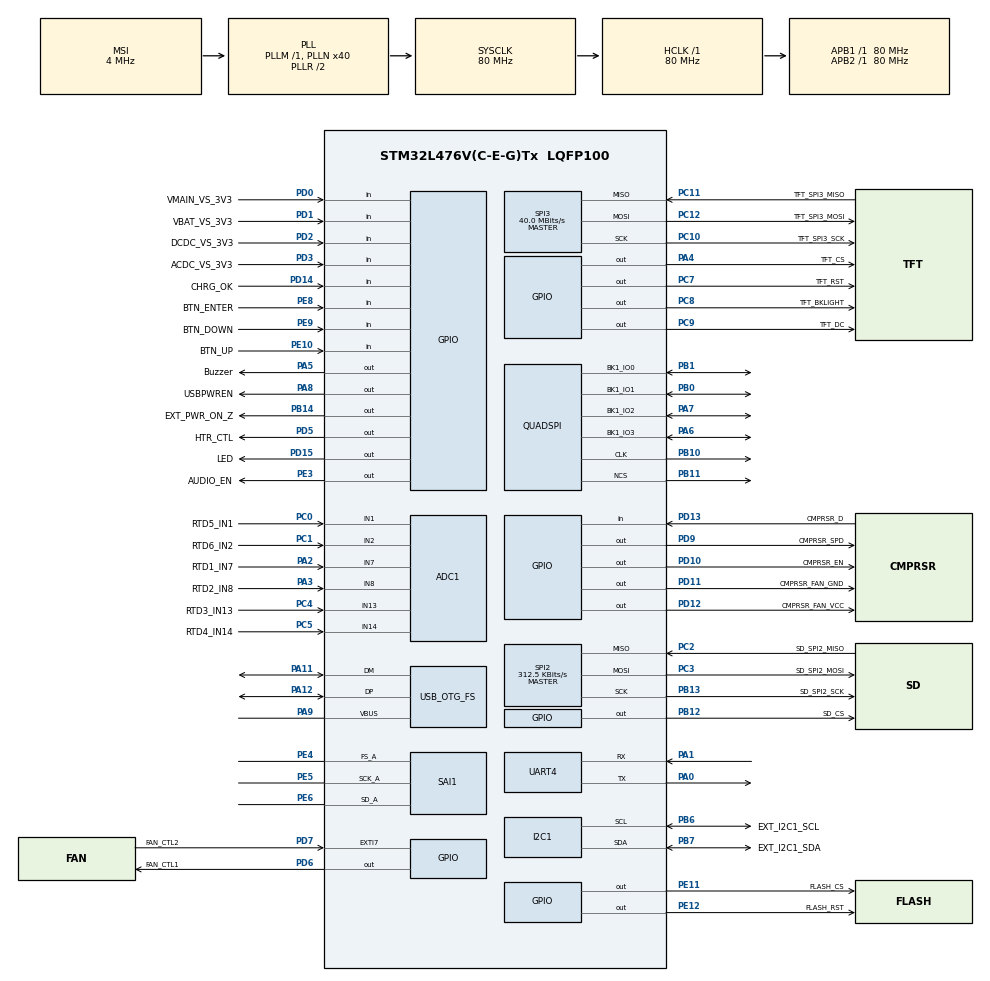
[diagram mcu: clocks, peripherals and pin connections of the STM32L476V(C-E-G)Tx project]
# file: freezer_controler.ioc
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ADC1.Channel-0\#ChannelRegularConversion=ADC_CHANNEL_1
ADC1.Channel-1\#ChannelRegularConversion=ADC_CHANNEL_2
ADC1.Channel-2\#ChannelRegularConversion=ADC_CHANNEL_8
ADC1.Channel-3\#ChannelRegularConversion=ADC_CHANNEL_7
ADC1.Channel-4\#ChannelRegularConversion=ADC_CHANNEL_13
ADC1.Channel-5\#ChannelRegularConversion=ADC_CHANNEL_14
ADC1.ClockPrescaler=ADC_CLOCK_ASYNC_DIV64
ADC1.ContinuousConvMode=ENABLE
ADC1.DMAContinuousRequests=ENABLE
ADC1.NbrOfConversion=6
ADC1.NbrOfConversionFlag=1
ADC1.OffsetNumber-0\#ChannelRegularConversion=ADC_OFFSET_NONE
ADC1.OffsetNumber-1\#ChannelRegularConversion=ADC_OFFSET_NONE
ADC1.OffsetNumber-2\#ChannelRegularConversion=ADC_OFFSET_NONE
ADC1.OffsetNumber-3\#ChannelRegularConversion=ADC_OFFSET_NONE
ADC1.OffsetNumber-4\#ChannelRegularConversion=ADC_OFFSET_NONE
ADC1.OffsetNumber-5\#ChannelRegularConversion=ADC_OFFSET_NONE
ADC1.Rank-0\#ChannelRegularConversion=1
ADC1.Rank-1\#ChannelRegularConversion=2
ADC1.Rank-2\#ChannelRegularConversion=3
ADC1.Rank-3\#ChannelRegularConversion=4
ADC1.Rank-4\#ChannelRegularConversion=5
ADC1.Rank-5\#ChannelRegularConversion=6
ADC1.SamplingTime-0\#ChannelRegularConversion=ADC_SAMPLETIME_640CYCLES_5
ADC1.SamplingTime-1\#ChannelRegularConversion=ADC_SAMPLETIME_640CYCLES_5
ADC1.SamplingTime-2\#ChannelRegularConversion=ADC_SAMPLETIME_640CYCLES_5
ADC1.SamplingTime-3\#ChannelRegularConversion=ADC_SAMPLETIME_640CYCLES_5
ADC1.SamplingTime-4\#ChannelRegularConversion=ADC_SAMPLETIME_640CYCLES_5
ADC1.SamplingTime-5\#ChannelRegularConversion=ADC_SAMPLETIME_640CYCLES_5
ADC1.master=1
CRC.DefaultPolynomialUse=DEFAULT_POLYNOMIAL_DISABLE
Dma.ADC1.1.Direction=DMA_PERIPH_TO_MEMORY
Dma.ADC1.1.Instance=DMA1_Channel1
Dma.ADC1.1.MemDataAlignment=DMA_MDATAALIGN_WORD
Dma.ADC1.1.MemInc=DMA_MINC_ENABLE
Dma.ADC1.1.Mode=DMA_CIRCULAR
Dma.ADC1.1.PeriphDataAlignment=DMA_PDATAALIGN_WORD
Dma.ADC1.1.PeriphInc=DMA_PINC_DISABLE
Dma.ADC1.1.Priority=DMA_PRIORITY_LOW
Dma.Request0=SPI3_TX
Dma.Request1=ADC1
Dma.SPI3_TX.0.Direction=DMA_MEMORY_TO_PERIPH
Dma.SPI3_TX.0.Instance=DMA2_Channel2
Dma.SPI3_TX.0.MemDataAlignment=DMA_MDATAALIGN_BYTE
Dma.SPI3_TX.0.MemInc=DMA_MINC_ENABLE
Dma.SPI3_TX.0.Mode=DMA_NORMAL
Dma.SPI3_TX.0.PeriphDataAlignment=DMA_PDATAALIGN_BYTE
Dma.SPI3_TX.0.PeriphInc=DMA_PINC_DISABLE
Dma.SPI3_TX.0.Priority=DMA_PRIORITY_LOW
FATFS._USE_LFN=3
FREERTOS.Tasks01=usbHostTask,0,128,UsbRunTask,Default,NULL,Dynamic,NULL,NULL;ledTask,-2,128,LedRunTask,Default,NULL,Dynamic,NULL,NULL;eventTask,-2,1024,EventRunTask,Default,NULL,Dynamic,NULL,NULL
FREERTOS.configTOTAL_HEAP_SIZE=8192
FREERTOS.configUSE_NEWLIB_REENTRANT=1
FREERTOS.configUSE_PREEMPTION=0
I2C1.Timing=0x10909CEC
Mcu.Family=STM32L4
Mcu.Name=STM32L476V(C-E-G)Tx
Mcu.Package=LQFP100
NVIC.DMA1_Channel1_IRQn=true\:5\:0\:false\:false\:true\:true\:false\:true\:true
NVIC.DMA2_Channel2_IRQn=true\:5\:0\:false\:false\:true\:true\:false\:true\:true
NVIC.OTG_FS_IRQn=true\:5\:0\:false\:false\:true\:true\:false\:true\:true
NVIC.PriorityGroup=NVIC_PRIORITYGROUP_4
PA0.Mode=Asynchronous
PA0.Signal=UART4_TX
PA1.Mode=Asynchronous
PA1.Signal=UART4_RX
PA11.Mode=Host_Only
PA11.Signal=USB_OTG_FS_DM
PA12.Mode=Host_Only
PA12.Signal=USB_OTG_FS_DP
PA2.GPIO_Label=RTD1_IN7
PA2.Signal=ADCx_IN7
PA3.GPIO_Label=RTD2_IN8
PA3.Signal=ADCx_IN8
PA4.GPIO_Label=TFT_CS
PA4.PinState=GPIO_PIN_SET
PA4.Signal=GPIO_Output
PA5.GPIO_Label=Buzzer
PA5.Signal=GPIO_Output
PA6.Mode=Single Bank
PA6.Signal=QUADSPI_BK1_IO3
PA7.Mode=Single Bank
PA7.Signal=QUADSPI_BK1_IO2
PA8.GPIO_Label=USBPWREN
PA8.Signal=GPIO_Output
PA9.Mode=Activate_VBUS
PA9.Signal=USB_OTG_FS_VBUS
PB0.Mode=Single Bank
PB0.Signal=QUADSPI_BK1_IO1
PB1.Mode=Single Bank
PB1.Signal=QUADSPI_BK1_IO0
PB10.Mode=Single Bank
PB10.Signal=QUADSPI_CLK
PB11.Mode=Single Bank
PB11.Signal=QUADSPI_NCS
PB12.GPIO_Label=SD_CS
PB12.Signal=GPIO_Output
PB13.GPIO_Label=SD_SPI2_SCK
PB13.Mode=Full_Duplex_Master
PB13.Signal=SPI2_SCK
PB14.GPIO_Label=EXT_PWR_ON_Z
PB14.Signal=GPIO_Output
PB6.GPIO_Label=EXT_I2C1_SCL
PB6.Mode=I2C
PB6.Signal=I2C1_SCL
PB7.GPIO_Label=EXT_I2C1_SDA
PB7.Mode=I2C
PB7.Signal=I2C1_SDA
PC0.GPIO_Label=RTD5_IN1
PC0.Signal=ADCx_IN1
PC1.GPIO_Label=RTD6_IN2
PC1.Signal=ADCx_IN2
PC10.GPIO_Label=TFT_SPI3_SCK
PC10.Mode=Full_Duplex_Master
PC10.Signal=SPI3_SCK
PC11.GPIO_Label=TFT_SPI3_MISO
PC11.Mode=Full_Duplex_Master
PC11.Signal=SPI3_MISO
PC12.GPIO_Label=TFT_SPI3_MOSI
PC12.Mode=Full_Duplex_Master
PC12.Signal=SPI3_MOSI
PC14-OSC32_IN\ (PC14).Mode=LSE-External-Oscillator
PC14-OSC32_IN\ (PC14).Signal=RCC_OSC32_IN
PC15-OSC32_OUT\ (PC15).Mode=LSE-External-Oscillator
PC15-OSC32_OUT\ (PC15).Signal=RCC_OSC32_OUT
PC2.GPIO_Label=SD_SPI2_MISO
PC2.Mode=Full_Duplex_Master
PC2.Signal=SPI2_MISO
PC3.GPIO_Label=SD_SPI2_MOSI
PC3.Mode=Full_Duplex_Master
PC3.Signal=SPI2_MOSI
PC4.GPIO_Label=RTD3_IN13
PC4.Signal=ADCx_IN13
PC5.GPIO_Label=RTD4_IN14
PC5.Signal=ADCx_IN14
PC7.GPIO_Label=TFT_RST
PC7.Signal=GPIO_Output
PC8.GPIO_Label=TFT_BKLIGHT
PC8.Signal=GPIO_Output
PC9.GPIO_Label=TFT_DC
PC9.Signal=GPIO_Output
PD0.GPIO_Label=VMAIN_VS_3V3
PD0.Signal=GPIO_Input
PD1.GPIO_Label=VBAT_VS_3V3
PD1.Signal=GPIO_Input
PD10.GPIO_Label=CMPRSR_EN
PD10.Signal=GPIO_Output
PD11.GPIO_Label=CMPRSR_FAN_GND
PD11.Signal=GPIO_Output
PD12.GPIO_Label=CMPRSR_FAN_VCC
PD12.Signal=GPIO_Output
PD13.GPIO_Label=CMPRSR_D
PD13.Signal=GPIO_Input
PD14.GPIO_Label=CHRG_OK
PD14.GPIO_PuPd=GPIO_PULLUP
PD14.Signal=GPIO_Input
PD15.GPIO_Label=LED
PD15.Signal=GPIO_Output
PD2.GPIO_Label=DCDC_VS_3V3
PD2.Signal=GPIO_Input
PD3.GPIO_Label=ACDC_VS_3V3
PD3.Signal=GPIO_Input
PD5.GPIO_Label=HTR_CTL
PD5.Signal=GPIO_Output
PD6.GPIO_Label=FAN_CTL1
PD6.Signal=GPIO_Output
PD7.GPIO_Label=FAN_CTL2
PD7.Signal=GPXTI7
PD9.GPIO_Label=CMPRSR_SPD
PD9.Signal=GPIO_Output
PE10.GPIO_Label=BTN_UP
PE10.GPIO_PuPd=GPIO_PULLUP
PE10.Signal=GPIO_Input
PE11.GPIO_Label=FLASH_CS
PE11.Signal=GPIO_Output
PE12.GPIO_Label=FLASH_RST
PE12.Signal=GPIO_Output
PE3.GPIO_Label=AUDIO_EN
PE3.Signal=GPIO_Output
PE4.Mode=SAI_A_Master
PE4.Signal=SAI1_FS_A
PE5.Mode=SAI_A_Master
PE5.Signal=SAI1_SCK_A
PE6.Mode=SAI_A_Master
PE6.Signal=SAI1_SD_A
PE8.GPIO_Label=BTN_ENTER
PE8.GPIO_PuPd=GPIO_PULLUP
PE8.Signal=GPIO_Input
PE9.GPIO_Label=BTN_DOWN
PE9.GPIO_PuPd=GPIO_PULLUP
PE9.Signal=GPIO_Input
ProjectManager.HeapSize=0x200
ProjectManager.StackSize=0x400
ProjectManager.TargetToolchain=STM32CubeIDE
RCC.ADCFreq_Value=48000000
RCC.AHBFreq_Value=80000000
RCC.APB1Freq_Value=80000000
RCC.APB1TimFreq_Value=80000000
RCC.APB2Freq_Value=80000000
RCC.APB2TimFreq_Value=80000000
RCC.CortexFreq_Value=80000000
RCC.HCLKFreq_Value=80000000
RCC.HSE_VALUE=8000000
RCC.HSI_VALUE=16000000
RCC.MSI_VALUE=4000000
RCC.PLLN=40
RCC.PLLSAI1N=24
RCC.PLLSAI2N=16
RCC.SYSCLKFreq_VALUE=80000000
RCC.SYSCLKSource=RCC_SYSCLKSOURCE_PLLCLK
RCC.USBFreq_Value=48000000
RCC.VCOOutputFreq_Value=160000000
SAI1.ErrorAudioFreq-SAI_A_Master=-72.09 %
SAI1.Instance-SAI_A_Master=SAI$Index_Block_A
SAI1.MClockEnable-SAI_A_Master=SAI_MASTERCLOCK_DISABLE
SAI1.RealAudioFreq-SAI_A_Master=53.571 KHz
SAI1.VirtualMode-SAI_A_Master=VM_MASTER
SH.ADCx_IN1.0=ADC1_IN1,IN1-Single-Ended
SH.ADCx_IN13.0=ADC1_IN13,IN13-Single-Ended
SH.ADCx_IN14.0=ADC1_IN14,IN14-Single-Ended
SH.ADCx_IN2.0=ADC1_IN2,IN2-Single-Ended
SH.ADCx_IN7.0=ADC1_IN7,IN7-Single-Ended
SH.ADCx_IN8.0=ADC1_IN8,IN8-Single-Ended
SPI2.BaudRatePrescaler=SPI_BAUDRATEPRESCALER_256
SPI2.CalculateBaudRate=312.5 KBits/s
SPI2.DataSize=SPI_DATASIZE_8BIT
SPI2.Direction=SPI_DIRECTION_2LINES
SPI2.Mode=SPI_MODE_MASTER
SPI2.VirtualType=VM_MASTER
SPI3.BaudRatePrescaler=SPI_BAUDRATEPRESCALER_2
SPI3.CalculateBaudRate=40.0 MBits/s
SPI3.DataSize=SPI_DATASIZE_8BIT
SPI3.Direction=SPI_DIRECTION_2LINES
SPI3.Mode=SPI_MODE_MASTER
SPI3.VirtualType=VM_MASTER
USB_HOST.BSP.number=1
USB_HOST.USBH_HandleTypeDef=hUsbHostFS
USB_HOST.USBH_USE_OS-MSC_FS=0
USB_HOST.VirtualModeFS=Msc
USB_HOST0.BSP.STBoard=false
USB_HOST0.BSP.api=Unknown
USB_HOST0.BSP.instance=PA8
USB_HOST0.BSP.ip=GPIO
USB_HOST0.BSP.mode=Output
USB_HOST0.BSP.name=Drive_VBUS_FS
USB_HOST0.BSP.solution=PA8
USB_OTG_FS.VirtualMode=Host_Only
USB_OTG_FS.phy_itface=HCD_PHY_EMBEDDED
VP_CRC_VS_CRC.Mode=CRC_Activate
VP_FATFS_VS_Generic.Mode=User_defined
VP_FATFS_VS_USB.Mode=USB
VP_FREERTOS_VS_CMSIS_V1.Mode=CMSIS_V1
VP_USB_HOST_VS_USB_HOST_MSC_FS.Mode=MSC_FS
board=custom

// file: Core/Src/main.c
/* USER CODE BEGIN Header */
/**
  ******************************************************************************
  * @file           : main.c
  * @brief          : Main program body
  ******************************************************************************
  * @attention
  *
  * Copyright (c) 2023 STMicroelectronics.
  * All rights reserved.
  *
  * This software is licensed under terms that can be found in the LICENSE file
  * in the root directory of this software component.
  * If no LICENSE file comes with this software, it is provided AS-IS.
  *
  ******************************************************************************
  */
/* USER CODE END Header */
#include "main.h"
#include "cmsis_os.h"
#include "adc.h"
#include "crc.h"
#include "dma.h"
#include "fatfs.h"
#include "i2c.h"
#include "quadspi.h"
#include "sai.h"
#include "spi.h"
#include "usart.h"
#include "usb_host.h"
#include "gpio.h"

/* USER CODE BEGIN Includes */
#include "lcd_ui.h"
#include "event.h"
#include "DS1307.h"
#include "led.h"
#include "buzzer.h"
#include "RTD.h"
#include "board.h"
#include "lcd_interface.h"
#include "main_app.h"
#include "logging.h"
#include "bms.h"
#include "power_board.h"
/* USER CODE END Includes */

void SystemClock_Config(void);
void PeriphCommonClock_Config(void);
void MX_FREERTOS_Init(void);

int main(void)
{

  /* MCU Configuration--------------------------------------------------------*/

  /* Reset of all peripherals, Initializes the Flash interface and the Systick. */
  HAL_Init();

  /* Configure the system clock */
  SystemClock_Config();

/* Configure the peripherals common clocks */
  PeriphCommonClock_Config();

  /* Initialize all configured peripherals */
  MX_GPIO_Init();
  MX_DMA_Init();
  MX_ADC1_Init();
  MX_SPI2_Init();
  MX_FATFS_Init();
  MX_SPI3_Init();
  MX_I2C1_Init();
  MX_CRC_Init();
  MX_QUADSPI_Init();
  MX_SAI1_Init();
  MX_UART4_Init();
  /* USER CODE BEGIN 2 */

  logging_init();
  event_init();
  //RTD temperature sensor
  rtd_init();
  //Buzzer
  buzzer_init();
  //Init i2c periph for DS1307
  DS1307_Init(&hi2c1);

  //Battery managerment
//  ext_pwr_enable(); // On power for BQ25731
//  HAL_Delay(10);
//  bms_init();

  /* USER CODE END 2 */

  /* Call init function for freertos objects (in freertos.c) */
  MX_FREERTOS_Init();

  /* Start scheduler */
  osKernelStart();

  /* We should never get here as control is now taken by the scheduler */
  /* Infinite loop */
  /* USER CODE BEGIN WHILE */
  while (1)
  {
//	 event_run_task();
    /* USER CODE END WHILE */

  }
}

void SystemClock_Config(void)
{
  RCC_OscInitTypeDef RCC_OscInitStruct = {0};
  RCC_ClkInitTypeDef RCC_ClkInitStruct = {0};

  /** Configure the main internal regulator output voltage
  */
  if (HAL_PWREx_ControlVoltageScaling(PWR_REGULATOR_VOLTAGE_SCALE1) != HAL_OK)
  {
    Error_Handler();
  }

  /** Configure LSE Drive Capability
  */
  HAL_PWR_EnableBkUpAccess();
  __HAL_RCC_LSEDRIVE_CONFIG(RCC_LSEDRIVE_LOW);

  /** Initializes the RCC Oscillators according to the specified parameters
  * in the RCC_OscInitTypeDef structure.
  */
  RCC_OscInitStruct.OscillatorType = RCC_OSCILLATORTYPE_LSE|RCC_OSCILLATORTYPE_MSI;
  RCC_OscInitStruct.LSEState = RCC_LSE_ON;
  RCC_OscInitStruct.MSIState = RCC_MSI_ON;
  RCC_OscInitStruct.MSICalibrationValue = 0;
  RCC_OscInitStruct.MSIClockRange = RCC_MSIRANGE_6;
  RCC_OscInitStruct.PLL.PLLState = RCC_PLL_ON;
  RCC_OscInitStruct.PLL.PLLSource = RCC_PLLSOURCE_MSI;
  RCC_OscInitStruct.PLL.PLLM = 1;
  RCC_OscInitStruct.PLL.PLLN = 40;
  RCC_OscInitStruct.PLL.PLLP = RCC_PLLP_DIV7;
  RCC_OscInitStruct.PLL.PLLQ = RCC_PLLQ_DIV2;
  RCC_OscInitStruct.PLL.PLLR = RCC_PLLR_DIV2;
  if (HAL_RCC_OscConfig(&RCC_OscInitStruct) != HAL_OK)
  {
    Error_Handler();
  }

  /** Initializes the CPU, AHB and APB buses clocks
  */
  RCC_ClkInitStruct.ClockType = RCC_CLOCKTYPE_HCLK|RCC_CLOCKTYPE_SYSCLK
                              |RCC_CLOCKTYPE_PCLK1|RCC_CLOCKTYPE_PCLK2;
  RCC_ClkInitStruct.SYSCLKSource = RCC_SYSCLKSOURCE_PLLCLK;
  RCC_ClkInitStruct.AHBCLKDivider = RCC_SYSCLK_DIV1;
  RCC_ClkInitStruct.APB1CLKDivider = RCC_HCLK_DIV1;
  RCC_ClkInitStruct.APB2CLKDivider = RCC_HCLK_DIV1;

  if (HAL_RCC_ClockConfig(&RCC_ClkInitStruct, FLASH_LATENCY_4) != HAL_OK)
  {
    Error_Handler();
  }

  /** Enable MSI Auto calibration
  */
  HAL_RCCEx_EnableMSIPLLMode();
}

void PeriphCommonClock_Config(void)
{
  RCC_PeriphCLKInitTypeDef PeriphClkInit = {0};

  /** Initializes the peripherals clock
  */
  PeriphClkInit.PeriphClockSelection = RCC_PERIPHCLK_SAI1|RCC_PERIPHCLK_USB
                              |RCC_PERIPHCLK_ADC;
  PeriphClkInit.Sai1ClockSelection = RCC_SAI1CLKSOURCE_PLLSAI1;
  PeriphClkInit.AdcClockSelection = RCC_ADCCLKSOURCE_PLLSAI1;
  PeriphClkInit.UsbClockSelection = RCC_USBCLKSOURCE_PLLSAI1;
  PeriphClkInit.PLLSAI1.PLLSAI1Source = RCC_PLLSOURCE_MSI;
  PeriphClkInit.PLLSAI1.PLLSAI1M = 1;
  PeriphClkInit.PLLSAI1.PLLSAI1N = 24;
  PeriphClkInit.PLLSAI1.PLLSAI1P = RCC_PLLP_DIV7;
  PeriphClkInit.PLLSAI1.PLLSAI1Q = RCC_PLLQ_DIV2;
  PeriphClkInit.PLLSAI1.PLLSAI1R = RCC_PLLR_DIV2;
  PeriphClkInit.PLLSAI1.PLLSAI1ClockOut = RCC_PLLSAI1_SAI1CLK|RCC_PLLSAI1_48M2CLK
                              |RCC_PLLSAI1_ADC1CLK;
  if (HAL_RCCEx_PeriphCLKConfig(&PeriphClkInit) != HAL_OK)
  {
    Error_Handler();
  }
}

void Error_Handler(void)
{
  __disable_irq();
  while (1)
  {
  }
}

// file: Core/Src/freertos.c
/* USER CODE BEGIN Header */
/**
  ******************************************************************************
  * File Name          : freertos.c
  * Description        : Code for freertos applications
  ******************************************************************************
  * @attention
  *
  * Copyright (c) 2023 STMicroelectronics.
  * All rights reserved.
  *
  * This software is licensed under terms that can be found in the LICENSE file
  * in the root directory of this software component.
  * If no LICENSE file comes with this software, it is provided AS-IS.
  *
  ******************************************************************************
  */
/* USER CODE END Header */

#include "FreeRTOS.h"
#include "task.h"
#include "main.h"
#include "cmsis_os.h"

/* USER CODE BEGIN Includes */
#include "event.h"
#include "led.h"
#include "bms.h"
#include "main_app.h"
/* USER CODE END Includes */

/* USER CODE BEGIN Variables */
osThreadId eventTaskHandle;
osThreadId ledTaskHandle;
/* USER CODE END Variables */
osThreadId usbHostTaskHandle;
osThreadId ledTaskHandle;
osThreadId eventTaskHandle;

/* USER CODE BEGIN FunctionPrototypes */
extern void MX_USB_HOST_Process(void);
/* USER CODE END FunctionPrototypes */

void UsbRunTask(void const * argument);
void LedRunTask(void const * argument);
void EventRunTask(void const * argument);

extern void MX_USB_HOST_Init(void);
void MX_FREERTOS_Init(void); /* (MISRA C 2004 rule 8.1) */

/* GetIdleTaskMemory prototype (linked to static allocation support) */
void vApplicationGetIdleTaskMemory( StaticTask_t **ppxIdleTaskTCBBuffer, StackType_t **ppxIdleTaskStackBuffer, uint32_t *pulIdleTaskStackSize );

/* USER CODE BEGIN GET_IDLE_TASK_MEMORY */
static StaticTask_t xIdleTaskTCBBuffer;
static StackType_t xIdleStack[configMINIMAL_STACK_SIZE];

void vApplicationGetIdleTaskMemory( StaticTask_t **ppxIdleTaskTCBBuffer, StackType_t **ppxIdleTaskStackBuffer, uint32_t *pulIdleTaskStackSize )
{
  *ppxIdleTaskTCBBuffer = &xIdleTaskTCBBuffer;
  *ppxIdleTaskStackBuffer = &xIdleStack[0];
  *pulIdleTaskStackSize = configMINIMAL_STACK_SIZE;
  /* place for user code */
}
/* USER CODE END GET_IDLE_TASK_MEMORY */

void MX_FREERTOS_Init(void) {

  /* Create the thread(s) */
  /* definition and creation of usbHostTask */
  osThreadDef(usbHostTask, UsbRunTask, osPriorityNormal, 0, 128);
  usbHostTaskHandle = osThreadCreate(osThread(usbHostTask), NULL);

  /* definition and creation of ledTask */
  osThreadDef(ledTask, LedRunTask, osPriorityLow, 0, 128);
  ledTaskHandle = osThreadCreate(osThread(ledTask), NULL);

  /* definition and creation of eventTask */
  osThreadDef(eventTask, EventRunTask, osPriorityLow, 0, 1024);
  eventTaskHandle = osThreadCreate(osThread(eventTask), NULL);

}

void UsbRunTask(void const * argument)
{
  /* init code for USB_HOST */
  MX_USB_HOST_Init();
  /* USER CODE BEGIN UsbRunTask */
  /* Infinite loop */
  for(;;)
  {
	  MX_USB_HOST_Process();
	  osDelay(1);
  }
  /* USER CODE END UsbRunTask */
}

void LedRunTask(void const * argument)
{
  /* USER CODE BEGIN LedRunTask */
  /* Infinite loop */
  for(;;)
  {
	  led_task_interrupt(1);
	  osDelay(10);
  }
  /* USER CODE END LedRunTask */
}

void EventRunTask(void const * argument)
{
  /* USER CODE BEGIN EventRunTask */
  ext_pwr_enable(); // On power for BQ25731
  HAL_Delay(10);
  bms_init();
  main_app_init();
  /* Infinite loop */
  for(;;)
  {
   event_run_task();
    osDelay(1);
  }
  /* USER CODE END EventRunTask */
}
